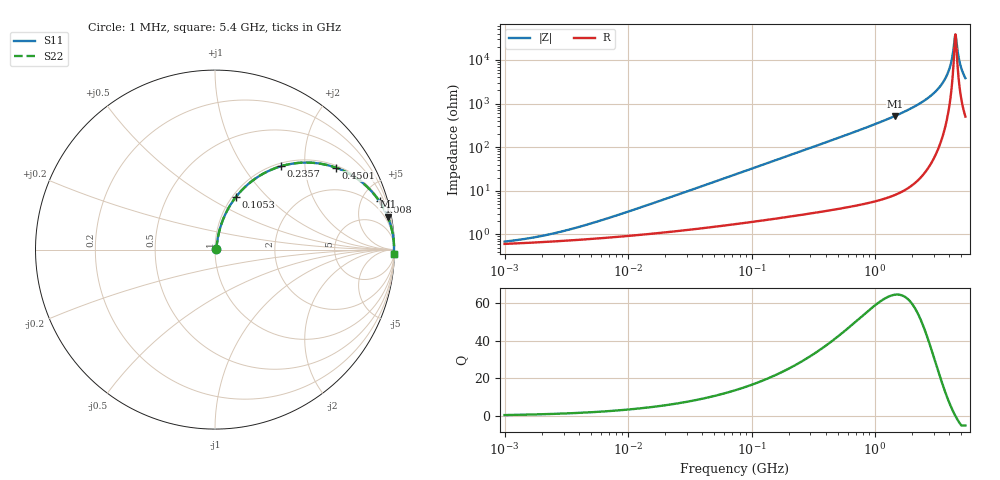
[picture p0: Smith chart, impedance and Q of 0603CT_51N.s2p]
# MHz  S  MA  R  50
!Freq  MagS11  AngS11  MagS21  AngS21  MagS12  AngS12  MagS22  AngS22
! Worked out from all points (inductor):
!   865 points, 1 MHz to 5.4 GHz, reference 50 ohm
!   read as one part in series: L = 51 nH near 8.326 MHz
!   highest Q = 64.6 at 1.456 GHz (marker M1), where L = 57 nH
!   self-resonance near 4.483 GHz
!   S11 on the Smith chart (normalised r, x): 1 MHz: 1.01, +0.01; 105.3 MHz: 1.04, +0.68; 235.7 MHz: 1.05, +1.52; 450.1 MHz: 1.07, +2.91; 1.008 GHz: 1.12, +6.80; 5.4 GHz: 11, -76
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1  0.006821 27.7  0.994 -0.2  0.994 -0.2  0.006821 27.7
2.006763  0.00921 43.5  0.9933 -0.4  0.9933 -0.4  0.00921 43.5
4.190616  0.01531 59.7  0.9924 -0.8  0.9924 -0.8  0.01531 59.7
17.56126  0.0566 76.0  0.9878 -3.2  0.9878 -3.2  0.0566 76.0
73.59249  0.2265 72.8  0.9577 -13.1  0.9577 -13.1  0.2265 72.8
105.2938  0.3148 68.3  0.931 -18.3  0.931 -18.3  0.3148 68.3
235.7405  0.5939 51.5  0.7835 -36.4  0.7835 -36.4  0.5939 51.5
308.3978  0.6941 44.3  0.6988 -43.9  0.6988 -43.9  0.6941 44.3
450.115  0.8151 34.0  0.5593 -54.6  0.5593 -54.6  0.8151 34.0
1007.755  0.955 16.3  0.2808 -72.7  0.2808 -72.7  0.955 16.3
1292.377  0.9731 12.4  0.2154 -76.7  0.2154 -76.7  0.9731 12.4
1456.282  0.9793 10.8  0.1877 -78.3  0.1877 -78.3  0.9793 10.8
2418.999  0.994 5.2  0.09093 -83.6  0.09093 -83.6  0.994 5.2
3325.98  0.9972 2.4  0.04216 -85.0  0.04216 -85.0  0.9972 2.4
3938.973  0.9976 1.0  0.01823 -82.0  0.01823 -82.0  0.9976 1.0
4139.9  0.9976 0.6  0.0114 -77.5  0.0114 -77.5  0.9976 0.6
4351.077  0.9975 0.2  0.00492 -59.3  0.00492 -59.3  0.9975 0.2
4482.919  0.9974 0.0  0.002597 -2.2  0.002597 -2.2  0.9974 0.0
4618.755  0.9973 -0.2  0.004858 55.9  0.004858 55.9  0.9973 -0.2
4806.295  0.9971 -0.5  0.009977 72.8  0.009977 72.8  0.9971 -0.5
5001.45  0.9968 -0.9  0.01539 77.7  0.01539 77.7  0.9968 -0.9
5400  0.9962 -1.5  0.02603 80.9  0.02603 80.9  0.9962 -1.5
